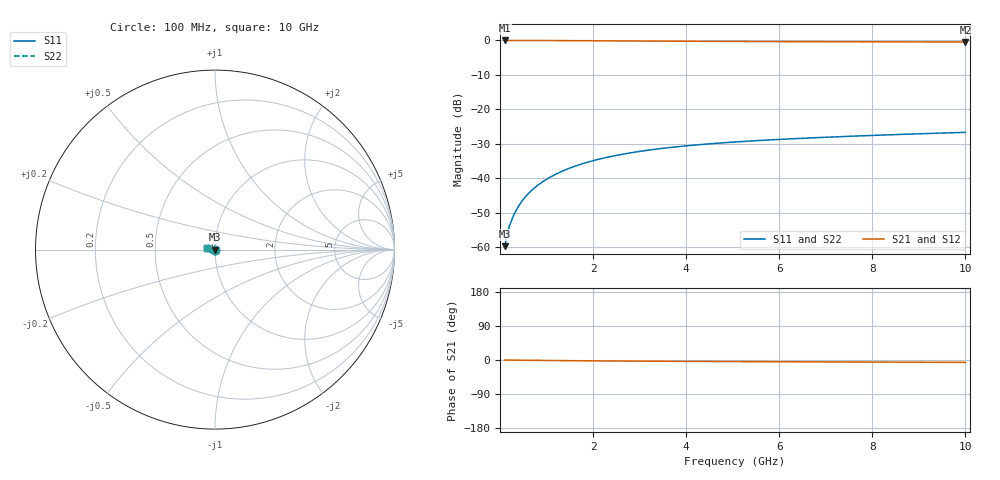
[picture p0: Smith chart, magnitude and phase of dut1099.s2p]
! Touchstone file exported from HFSS 2024.1.0
!  File:  C:/UserFiles/LocalFiles/RDL_TSV_Batchsim/temp_TSV1_1099_1780066996.aedt
!  Generated:  11:08:20 PM May 29, 2026
!  Design:  TSV1
!  Project:  temp_TSV1_1099_1780066996
!  Setup:  Setup1
!  Solution:  Sweep
! Variables:
!  dtsv = 7.02um
!  hbump = 3um
!  htsv = 98.9um
!  lrdl = 252.1521522um
!  p = 40
!  p1 = 45.09um
!  t = 500um
!  trdl = 3um
!  wrdl = 24.89489489um
# GHz S MA R 50.000000
! Terminal data exported
! Port[1] = TSV22_T1
! Port[2] = TSV22_T2
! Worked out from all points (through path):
!   100 points, 100 MHz to 10 GHz, reference 50 ohm
!   highest |S21| = 0.00 dB at 100 MHz (marker M1); lowest = -0.4 dB at 10 GHz (marker M2)
!   lowest |S11| = -59.7 dB at 100 MHz (marker M3), VSWR 1.00, Z = 50 - j0.0988 ohm
!   |S11| at or under -10 dB: start of sweep to end of sweep
!   |S22| runs from -59.7 to -26.7 dB; largest |S21 - S12| = 7.3e-15
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0.1  0.001033 -72.9  0.9996 -0.1  0.9996 -0.1  0.001033 -72.9
! Gamma 0 0 0 0
! Port Impedance 50 0 50 0
0.2  0.002 -83.8  0.9995 -0.3  0.9995 -0.3  0.002 -83.8
0.3  0.002978 -88.8  0.9994 -0.4  0.9994 -0.4  0.002978 -88.8
0.4  0.003955 -92.2  0.9991 -0.5  0.9991 -0.5  0.003955 -92.2
0.5  0.004928 -95.0  0.9988 -0.6  0.9988 -0.6  0.004928 -95.0
0.6  0.005892 -97.4  0.9985 -0.8  0.9985 -0.8  0.005892 -97.4
0.7  0.006848 -99.7  0.9981 -0.9  0.9981 -0.9  0.006849 -99.7
0.8  0.007794 -101.8  0.9977 -1.0  0.9977 -1.0  0.007794 -101.8
0.9  0.008728 -103.8  0.9972 -1.1  0.9972 -1.1  0.008728 -103.8
1.1  0.01056 -107.6  0.9961 -1.3  0.9961 -1.3  0.01056 -107.6
1.4  0.01319 -113.0  0.9941 -1.7  0.9941 -1.7  0.01319 -113.0
1.6  0.01485 -116.4  0.9926 -1.9  0.9926 -1.9  0.01485 -116.4
1.8  0.01645 -119.7  0.9911 -2.1  0.9911 -2.1  0.01645 -119.7
2.1  0.01871 -124.5  0.9886 -2.3  0.9886 -2.3  0.01871 -124.5
2.5  0.02146 -130.4  0.9852 -2.7  0.9852 -2.7  0.02146 -130.4
2.9  0.02394 -136.0  0.9819 -3.0  0.9819 -3.0  0.02394 -136.0
3.4  0.02667 -142.4  0.9779 -3.3  0.9779 -3.3  0.02667 -142.4
4.2  0.03036 -151.6  0.9722 -3.8  0.9722 -3.8  0.03036 -151.6
5.1  0.03376 -160.5  0.9668 -4.2  0.9668 -4.2  0.03376 -160.5
6.7  0.03855 -173.8  0.9596 -4.9  0.9596 -4.9  0.03855 -173.8
8.4  0.04276 174.8  0.9544 -5.6  0.9544 -5.6  0.04276 174.8
10  0.04637 165.8  0.9509 -6.3  0.9509 -6.3  0.04637 165.8
